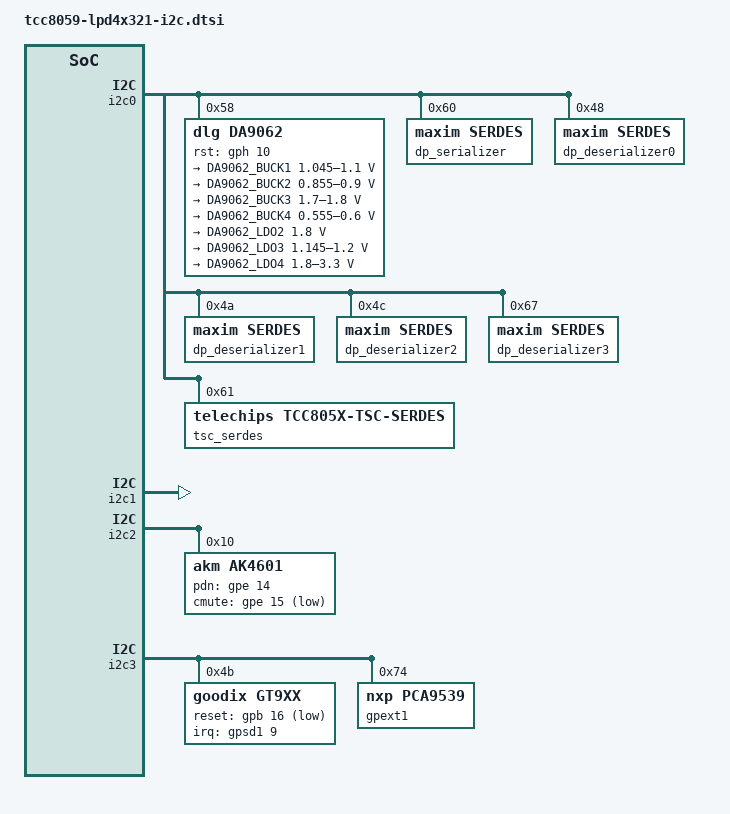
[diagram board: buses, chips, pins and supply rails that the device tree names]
// SPDX-License-Identifier: (GPL-2.0-or-later OR MIT)
/*
 * Copyright (C) 2023 Telechips Inc.
 */

#include <dt-bindings/gpio/gpio.h>
#include <dt-bindings/interrupt-controller/arm-gic.h>

&i2c0 {
	status = "okay";
	port-mux = <12>;
	pinctrl-names = "default", "sleep";
	pinctrl-0 = <&i2c12_bus_active>;
	pinctrl-1 = <&i2c12_bus_sleep>;

	#address-cells = <1>;
	#size-cells = <0>;

	/* Use burst-mode for serdes */
	burst-mode;

	/* ack timeout count: 100 */
	retry-count = <100>;

	da9062: pmic@58 {
		compatible = "dlg,da9062";
		reg = <0x58>;
		rst-gpios = <&gph 10 0>;

		da9062_gpio: gpio {
			compatible = "dlg,da9062-gpio";
			gpio-controller;
			#gpio-cells = <2>;
		};

		regulators {
			DA9062_BUCK1: buck1 {
				regulator-name = "memq_1p1";
				regulator-min-microvolt = <1045000>;
				regulator-max-microvolt = <1100000>;
				regulator-always-on;
				regulator-boot-on;

				regulator-state-mem {
					regulator-on-in-suspend;
				};
			};

			DA9062_BUCK2: buck2 {
				regulator-name = "cpu_0p9v";
				regulator-min-microvolt = <855000>;
				regulator-max-microvolt = <900000>;
				regulator-always-on;
				regulator-boot-on;
			};

			DA9062_BUCK3: buck3 {
				regulator-name = "io_1p8";
				regulator-min-microvolt = <1700000>;
				regulator-max-microvolt = <1800000>;
				regulator-always-on;
				regulator-boot-on;
			};

			DA9062_BUCK4: buck4 {
				regulator-name = "memq_0p6";
				regulator-min-microvolt = <555000>;
				regulator-max-microvolt = <600000>;
				regulator-always-on;
				regulator-boot-on;
			};

			DA9062_LDO2: ldo2 {
				regulator-name = "mem_1p8";
				regulator-min-microvolt = <1800000>;
				regulator-max-microvolt = <1800000>;
				regulator-always-on;
				regulator-boot-on;

				regulator-state-mem {
					regulator-on-in-suspend;
				};
			};

			DA9062_LDO3: ldo3 {
				regulator-name = "mipi_1p2";
				regulator-min-microvolt = <1145000>;
				regulator-max-microvolt = <1200000>;
				regulator-always-on;
				regulator-boot-on;
			};

			DA9062_LDO4: ldo4 {
				/* peri_1p8v */
				regulator-name = "sdio_pwr";
				regulator-min-microvolt = <1800000>;
				regulator-max-microvolt = <3300000>;
				regulator-always-on;
				regulator-boot-on;
			};
		};
	}; /* pmic da9062 */

	dp_serializer: max96851@60 {
		compatible	= "maxim,serdes";
		reg		= <0x60>;
	};

	dp_deserializer0: max96878@48 {
		compatible	= "maxim,serdes";
		reg		= <0x48>;
	};

	dp_deserializer1: max96878@4a {
		compatible	= "maxim,serdes";
		reg		= <0x4A>;
	};

	dp_deserializer2: max96878@4c {
		compatible	= "maxim,serdes";
		reg		= <0x4C>;
	};

	/* dummy */
	dp_deserializer3: max96878@67 {
		compatible	= "maxim,serdes";
		reg		= <0x67>;
	};

	tsc_serdes: tsc_serdes@61 {
		compatible = "telechips,tcc805x-tsc-serdes";
		status = "okay";
		reg = <0x61>;
		max-disp-num = <3>;
		/* 0x01: TCC803XPE_EVB
		   0x02: TCC8059_EVB
		   0x04: TCC8050_53_EVB
		   0x08: TCC8070_EVB */
		board-type = <0x02>;
		/* 0xBA: AUO Touch IC(goodix)
		   0x94: BOE Touch IC(atmel) */
		lcd-touch-addr = <0xBA>;
	};
};

&i2c1 {
	status = "okay";
	port-mux = <13>; /* [0]SCL [1]SDA */
	pinctrl-names = "default", "sleep";
	pinctrl-0 = <&i2c13_bus_active>;
	pinctrl-1 = <&i2c13_bus_sleep>;

	#address-cells = <1>;
	#size-cells = <0>;
};

&i2c2 {
	status = "okay";
	port-mux = <20>; /* [0]SCL [1]SDA */
	pinctrl-names = "default", "sleep";
	pinctrl-0 = <&i2c20_bus_active>;
	pinctrl-1 = <&i2c20_bus_sleep>;

	#address-cells = <1>;
	#size-cells = <0>;

	ak4601: ak4601@10 {
		compatible = "akm,ak4601";
		ak4601,pdn-gpio = <&gpe 14 0>;
		cmute-gpios = <&gpe 15 1>;     //CODEC_MUTE    0: active high, 1: active low
		//amute-gpios = <&gpma 1 1>;       //AMP_MUTE      0: active high, 1: active low
		//stanby-gpios = <&gpma 2 0>;     //AMP_STBY      0: active high, 1: active low
		reg = <0x10>;
	};
};

&i2c3 {
	status = "okay";
	port-mux = <11>; /* [0]SCL [1]SDA */
	pinctrl-names = "default", "sleep";
	pinctrl-0 = <&i2c11_bus_active>;
	pinctrl-1 = <&i2c11_bus_sleep>;

	#address-cells = <1>;
	#size-cells = <0>;

	/* Use burst-mode for touch */
	burst-mode;

	/* carplay ack timeout count: 500 */
	retry-count = <500>;
	cmd-timeout = <2000>;
	recovery-gpios = <&gpb 19 0>, <&gpb 20 0>;

	/* BOE panel touch IC */
	mxt_touch@4b {
		compatible = "atmel,maxtouch";
		status = "disabled";
		reg = <0x4b>;
		pinctrl-names = "default", "sleep";
		pinctrl-0 = <&boe_tsc0_default>;
		pinctrl-1 = <&boe_tsc0_default>;

		interrupt-parent = <&gpsd1>;
		interrupts = <9 IRQ_TYPE_EDGE_FALLING>;
		reset-gpio = <&gpb 16 GPIO_ACTIVE_LOW>;

		tsc-serdes-handle = <&tsc_serdes>;
	};

	/* AUO panel touch IC */
	gt9xx@4b {
		compatible = "goodix,gt9xx";
		reg = <0x4b>;
		status = "okay";
		interrupt-parent = <&gpsd1>;
		interrupts = <9 IRQ_TYPE_EDGE_FALLING>;
		pinctrl-names = "default", "int-output-low","int-output-high", "int-input", "sleep";
		pinctrl-0 = <&auo_tsc0_int_default>;
		pinctrl-1 = <&auo_tsc0_int_output_low>;
		pinctrl-2 = <&auo_tsc0_int_output_high>;
		pinctrl-3 = <&auo_tsc0_int_input>;
		pinctrl-4 = <&auo_tsc0_int_default>;

		reset-gpios = <&gpb 16 GPIO_ACTIVE_LOW>;
		irq-gpios = <&gpsd1 9 IRQ_TYPE_EDGE_FALLING>;
		irq-flags = <2>;

		touchscreen-max-id = <11>;
		touchscreen-size-x = <1920>;
		touchscreen-size-y = <720>;
		touchscreen-max-w = <512>;
		touchscreen-max-p = <512>;
		touchscreen-key-map = <172>, <158>; /*KEY_HOMEPAGE=172, KEY_BACK=158，KEY_MENU=139*/

		goodix,slide-wakeup = <0>;
		goodix,type-a-report = <0>;
		goodix,driver-send-cfg = <0>;
		goodix,resume-in-workqueue = <0>;
		goodix,int-sync = <1>;
		goodix,swap-x2y = <0>;
		goodix,esd-protect = <1>;
		goodix,auto-update-cfg = <0>;
		goodix,power-off-sleep = <0>;
		goodix,pen-suppress-finger = <0>;
		goodix,cfg-group0 = [
			53 D0 02 00 05 05 F5 D5 21 48 2D 0F 5A 41 0E 05 00 00 32 32 20 00 05 14 14 1A 14 8B 2B 00
		];
		tsc-serdes-handle = <&tsc_serdes>;
	};

	gpext1: tca9539@74 {
		compatible = "nxp,pca9539";
		reg = <0x74>;
		gpio-controller;
		#gpio-cells = <2>;
	};
};

&pinctrl {
	i2c11_bus_active: i2c11_bus_active {
		telechips,pins = "gpb-19", "gpb-20";
		telechips,pin-function = <8>;
		telechips,input_buffer_enable;
		telechips,no-pull;
	};

	i2c11_bus_sleep: i2c11_bus_sleep {
		telechips,pins = "gpb-19", "gpb-20";
		telechips,pin-function = <0>;
		telechips,no-pull;
	};

	i2c12_bus_active: i2c12_bus_active {
		telechips,pins = "gpb-21", "gpb-22";
		telechips,pin-function = <8>;
		telechips,input_buffer_enable;
		telechips,no-pull;
	};

	i2c12_bus_sleep: i2c12_bus_sleep {
		telechips,pins = "gpb-21", "gpb-22";
		telechips,pin-function = <0>;
		telechips,no-pull;
	};

	i2c13_bus_active: i2c13_bus_active {
		telechips,pins = "gpb-23", "gpb-24";
		telechips,pin-function = <8>;
		telechips,input_buffer_enable;
		telechips,no-pull;
	};

	i2c13_bus_sleep: i2c13_bus_sleep {
		telechips,pins = "gpb-23", "gpb-24";
		telechips,pin-function = <8>;
		telechips,no-pull;
	};

	i2c20_bus_active: i2c20_bus_active {
		telechips,pins = "gpe-9", "gpe-10";
		telechips,pin-function = <8>;
		telechips,input_buffer_enable;
		telechips,no-pull;
	};

	i2c20_bus_sleep: i2c20_bus_sleep {
		telechips,pins = "gpe-9", "gpe-10";
		telechips,pin-function = <0>;
		telechips,no-pull;
	};

	/* BOE panel touch IC*/
	boe_tsc0_default: boe_tsc0_default {
		telechips,pins = "gpsd1-9", "gpb-16";
		telechips,pin-function = <0>;
		telechips,no-pull;
		telechips,input_buffer_enable;
	};

	/* AUO panel touch IC */
	auo_tsc0_int_default: auo_tsc0_int_default {
		telechips,pins = "gpsd1-9", "gpb-16";
		telechips,pin-function = <0>;
		telechips,no-pull;
		telechips,input_buffer_enable;
		telechips,input-enable;
	};

	auo_tsc0_int_output_low: auo_tsc0_int_output_low {
		telechips,pins = "gpsd1-9";
		telechips,pin-function = <0>;
		telechips,output-low;
	};

	auo_tsc0_int_output_high: auo_tsc0_int_output_high {
		telechips,pins = "gpsd1-9";
		telechips,pin-function = <0>;
		telechips,output-high;
	};

	auo_tsc0_int_input: auo_tsc0_int_input {
		telechips,pins = "gpsd1-9";
		telechips,pin-function = <0>;
		telechips,no-pull;
		telechips,input_buffer_enable;
		telechips,input-enable;
	};
};
